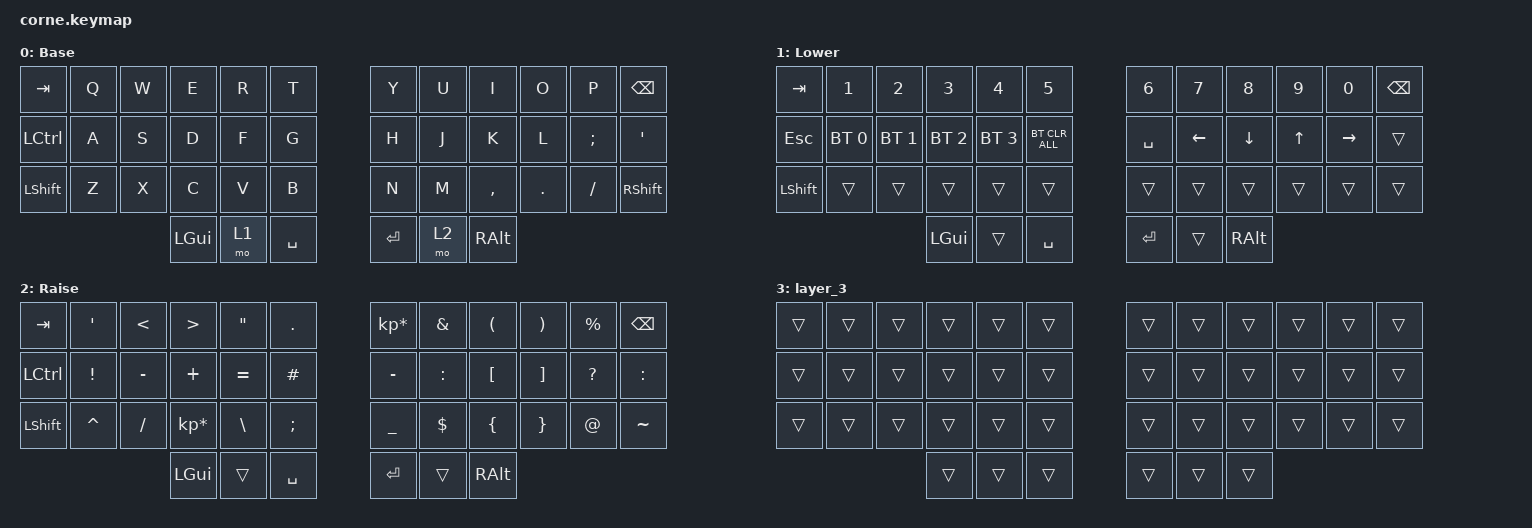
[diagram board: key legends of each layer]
/*
 * Copyright (c) 2020 The ZMK Contributors
 *
 * SPDX-License-Identifier: MIT
 */

#include <behaviors.dtsi>
#include <dt-bindings/zmk/bt.h>
#include <dt-bindings/zmk/keys.h>

/ {
    keymap {
        compatible = "zmk,keymap";

        default_layer {
            // -----------------------------------------------------------------------------------------
            // |  TAB |  Q  |  W  |  E  |  R  |  T  |   |  Y  |  U   |  I  |  O  |  P  | BKSP |
            // | CTRL |  A  |  S  |  D  |  F  |  G  |   |  H  |  J   |  K  |  L  |  ;  |  '   |
            // | SHFT |  Z  |  X  |  C  |  V  |  B  |   |  N  |  M   |  ,  |  .  |  /  | ESC  |
            //                    | GUI | LWR | SPC |   | ENT | RSE  | ALT |

            display-name = "Base";
            bindings = <
&kp TAB           &kp Q  &kp W  &kp E     &kp R  &kp T        &kp Y    &kp U  &kp I      &kp O    &kp P     &kp BSPC
&kp LEFT_CONTROL  &kp A  &kp S  &kp D     &kp F  &kp G        &kp H    &kp J  &kp K      &kp L    &kp SEMI  &kp SQT
&kp LSHFT         &kp Z  &kp X  &kp C     &kp V  &kp B        &kp N    &kp M  &kp COMMA  &kp DOT  &kp FSLH  &kp RIGHT_SHIFT
                                &kp LGUI  &mo 1  &kp SPACE    &kp RET  &mo 2  &kp RALT
            >;
        };

        lower_layer {
            // -----------------------------------------------------------------------------------------
            // |  TAB |  1  |  2  |  3  |  4  |  5  |   |  6  |  7  |  8  |  9  |  0  | BKSP |
            // | BTCLR| BT1 | BT2 | BT3 | BT4 | BT5 |   | LFT | DWN |  UP | RGT |     |      |
            // | SHFT |     |     |     |     |     |   |     |     |     |     |     |      |
            //                    | GUI |     | SPC |   | ENT |     | ALT |

            display-name = "Lower";
            bindings = <
&kp TAB    &kp N1        &kp N2        &kp N3        &kp N4        &kp N5            &kp N6     &kp N7    &kp N8    &kp N9        &kp N0     &kp BSPC
&kp ESC    &bt BT_SEL 0  &bt BT_SEL 1  &bt BT_SEL 2  &bt BT_SEL 3  &bt BT_CLR_ALL    &kp SPACE  &kp LEFT  &kp DOWN  &kp UP_ARROW  &kp RIGHT  &trans
&kp LSHFT  &trans        &trans        &trans        &trans        &trans            &trans     &trans    &trans    &trans        &trans     &trans
                                       &kp LGUI      &trans        &kp SPACE         &kp RET    &trans    &kp RALT
            >;
        };

        raise_layer {
            // -----------------------------------------------------------------------------------------
            // |  TAB |  !  |  @  |  #  |  $  |  %  |   |  ^  |  &  |  *  |  (  |  )  | BKSP |
            // | CTRL |     |     |     |     |     |   |  -  |  =  |  [  |  ]  |  \  |  `   |
            // | SHFT |     |     |     |     |     |   |  _  |  +  |  {  |  }  | "|" |  ~   |
            //                    | GUI |     | SPC |   | ENT |     | ALT |

            display-name = "Raise";
            bindings = <
&kp TAB    &kp SQT          &kp LESS_THAN  &kp GREATER_THAN  &kp DOUBLE_QUOTES  &kp PERIOD    &kp KP_MULTIPLY  &kp AMPS    &kp LEFT_PARENTHESIS  &kp RIGHT_PARENTHESIS  &kp PERCENT   &kp BSPC
&kp LCTRL  &kp EXCLAMATION  &kp MINUS      &kp PLUS          &kp EQUAL          &kp HASH      &kp MINUS        &kp COLON   &kp LBKT              &kp RBKT               &kp QUESTION  &kp COLON
&kp LSHFT  &kp CARET        &kp SLASH      &kp KP_MULTIPLY   &kp BACKSLASH      &kp SEMI      &kp UNDER        &kp DOLLAR  &kp LBRC              &kp RBRC               &kp AT_SIGN   &kp TILDE
                                           &kp LGUI          &trans             &kp SPACE     &kp RET          &trans      &kp RALT
            >;
        };

        layer_3 {
            bindings = <
&trans  &trans  &trans  &trans  &trans  &trans    &trans  &trans  &trans  &trans  &trans  &trans
&trans  &trans  &trans  &trans  &trans  &trans    &trans  &trans  &trans  &trans  &trans  &trans
&trans  &trans  &trans  &trans  &trans  &trans    &trans  &trans  &trans  &trans  &trans  &trans
                        &trans  &trans  &trans    &trans  &trans  &trans
            >;
        };
    };
};
